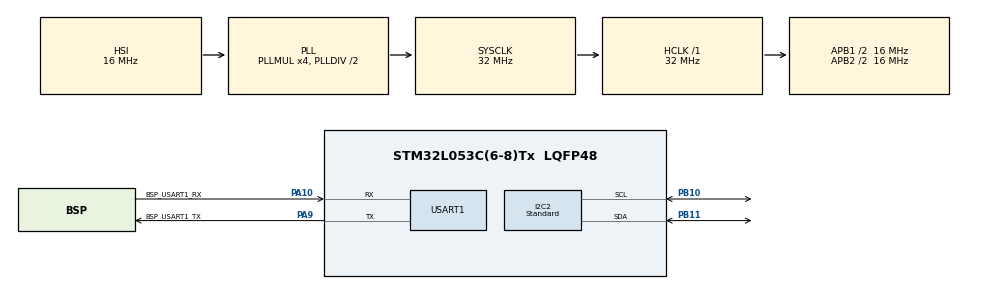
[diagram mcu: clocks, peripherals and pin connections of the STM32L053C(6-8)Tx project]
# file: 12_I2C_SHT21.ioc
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I2C2.I2C_Speed_Mode=I2C_Standard
I2C2.Timing=0x00303D5B
Mcu.Family=STM32L0
Mcu.Name=STM32L053C(6-8)Tx
Mcu.Package=LQFP48
PA10.GPIO_Label=BSP_USART1_RX
PA10.Mode=Asynchronous
PA10.Signal=USART1_RX
PA9.GPIO_Label=BSP_USART1_TX
PA9.Mode=Asynchronous
PA9.Signal=USART1_TX
PB10.GPIO_Pu=GPIO_PULLUP
PB10.Mode=I2C
PB10.Signal=I2C2_SCL
PB11.GPIO_Pu=GPIO_PULLUP
PB11.Mode=I2C
PB11.Signal=I2C2_SDA
PC14-OSC32_IN.Mode=LSE-External-Oscillator
PC14-OSC32_IN.Signal=RCC_OSC32_IN
PC15-OSC32_OUT.Mode=LSE-External-Oscillator
PC15-OSC32_OUT.Signal=RCC_OSC32_OUT
PH0-OSC_IN.Mode=HSE-External-Oscillator
PH0-OSC_IN.Signal=RCC_OSC_IN
PH1-OSC_OUT.Mode=HSE-External-Oscillator
PH1-OSC_OUT.Signal=RCC_OSC_OUT
ProjectManager.HeapSize=0x200
ProjectManager.StackSize=0x400
ProjectManager.TargetToolchain=STM32CubeIDE
RCC.AHBFreq_Value=32000000
RCC.APB1CLKDivider=RCC_HCLK_DIV2
RCC.APB1Freq_Value=16000000
RCC.APB1TimFreq_Value=32000000
RCC.APB2CLKDivider=RCC_HCLK_DIV2
RCC.APB2Freq_Value=16000000
RCC.APB2TimFreq_Value=32000000
RCC.HCLKFreq_Value=32000000
RCC.HSE_VALUE=8000000
RCC.HSI16_VALUE=16000000
RCC.HSI48MClockSelection=RCC_USBCLKSOURCE_HSI48
RCC.HSI48_VALUE=48000000
RCC.HSI_VALUE=16000000
RCC.MSI_VALUE=2097000
RCC.PLLMUL=RCC_PLLMUL_4
RCC.RTCClockSelectionVirtual=RCC_RTCCLKSOURCE_LSE
RCC.SYSCLKFreq_VALUE=32000000
RCC.SYSCLKSource=RCC_SYSCLKSOURCE_PLLCLK
RCC.VCOOutputFreq_Value=64000000
USART1.VirtualMode-Asynchronous=VM_ASYNC
board=STM32L0538-DISCO

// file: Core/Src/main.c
/* USER CODE BEGIN Header */
/**
  ******************************************************************************
  * @file           : main.c
  * @brief          : Main program body
  ******************************************************************************
  * @attention
  *
  * Copyright (c) 2024 STMicroelectronics.
  * All rights reserved.
  *
  * This software is licensed under terms that can be found in the LICENSE file
  * in the root directory of this software component.
  * If no LICENSE file comes with this software, it is provided AS-IS.
  *
  ******************************************************************************
  */
/* USER CODE END Header */
#include "main.h"

/* USER CODE BEGIN Includes */
#include<stdio.h>
#include<string.h>
#include "sht2x_for_stm32_hal.h"
/* USER CODE END Includes */

I2C_HandleTypeDef hi2c2;

UART_HandleTypeDef huart1;

void SystemClock_Config(void);
static void MX_GPIO_Init(void);
static void MX_USART1_UART_Init(void);
static void MX_I2C2_Init(void);
/* USER CODE BEGIN PFP */
void i2c_scan(void);
/* USER CODE END PFP */

/* USER CODE BEGIN 0 */
char Buffer[25] = {0};
uint8_t Space[] = " - ";
uint8_t StartMSG[] = "Starting I2C Scanning: \r\n";
uint8_t EndMSG[] = "Done! \r\n\r\n";

uint8_t i = 0;
int ret;
/* USER CODE END 0 */

int main(void)
{

  /* MCU Configuration--------------------------------------------------------*/

  /* Reset of all peripherals, Initializes the Flash interface and the Systick. */
  HAL_Init();

  /* Configure the system clock */
  SystemClock_Config();

  /* Initialize all configured peripherals */
  MX_GPIO_Init();
  MX_USART1_UART_Init();
  MX_I2C2_Init();
  /* USER CODE BEGIN 2 */
  SHT2x_Init(&hi2c2);
  i2c_scan();

  /* USER CODE END 2 */

  /* Infinite loop */
  while (1)
  {

    /* USER CODE BEGIN 3 */
	  unsigned char buffer[100] = { 0 };
	 	  		/* Gets current temperature & relative humidity. */
	 	  		float cel = SHT2x_GetTemperature(1);
	 	  		/* Converts temperature to degrees Fahrenheit and Kelvin */
	 	  		float fah = SHT2x_CelsiusToFahrenheit(cel);
	 	  		float kel = SHT2x_CelsiusToKelvin(cel);
	 	  		float rh = SHT2x_GetRelativeHumidity(1);

	 	  		SHT2x_GetInteger(cel);
	 	  		/* May show warning below. Ignore and proceed. */
	 	  		sprintf(buffer,"%d.%dºC, %d.%dºF, %d.%d K, %d.%d%% RH\n",
	 	  				SHT2x_GetInteger(cel), SHT2x_GetDecimal(cel, 1),
	 	  				SHT2x_GetInteger(fah), SHT2x_GetDecimal(fah, 1),
	 	  				SHT2x_GetInteger(kel), SHT2x_GetDecimal(kel, 1),
	 	  				SHT2x_GetInteger(rh), SHT2x_GetDecimal(rh, 1));
	 	  		HAL_UART_Transmit(&huart1, buffer, strlen(buffer), 1000);
	 	  		HAL_Delay(250);
  }
  /* USER CODE END 3 */
}

void SystemClock_Config(void)
{
  RCC_OscInitTypeDef RCC_OscInitStruct = {0};
  RCC_ClkInitTypeDef RCC_ClkInitStruct = {0};
  RCC_PeriphCLKInitTypeDef PeriphClkInit = {0};

  /** Configure the main internal regulator output voltage
  */
  __HAL_PWR_VOLTAGESCALING_CONFIG(PWR_REGULATOR_VOLTAGE_SCALE1);

  /** Initializes the RCC Oscillators according to the specified parameters
  * in the RCC_OscInitTypeDef structure.
  */
  RCC_OscInitStruct.OscillatorType = RCC_OSCILLATORTYPE_HSI;
  RCC_OscInitStruct.HSIState = RCC_HSI_ON;
  RCC_OscInitStruct.HSICalibrationValue = RCC_HSICALIBRATION_DEFAULT;
  RCC_OscInitStruct.PLL.PLLState = RCC_PLL_ON;
  RCC_OscInitStruct.PLL.PLLSource = RCC_PLLSOURCE_HSI;
  RCC_OscInitStruct.PLL.PLLMUL = RCC_PLLMUL_4;
  RCC_OscInitStruct.PLL.PLLDIV = RCC_PLLDIV_2;
  if (HAL_RCC_OscConfig(&RCC_OscInitStruct) != HAL_OK)
  {
    Error_Handler();
  }

  /** Initializes the CPU, AHB and APB buses clocks
  */
  RCC_ClkInitStruct.ClockType = RCC_CLOCKTYPE_HCLK|RCC_CLOCKTYPE_SYSCLK
                              |RCC_CLOCKTYPE_PCLK1|RCC_CLOCKTYPE_PCLK2;
  RCC_ClkInitStruct.SYSCLKSource = RCC_SYSCLKSOURCE_PLLCLK;
  RCC_ClkInitStruct.AHBCLKDivider = RCC_SYSCLK_DIV1;
  RCC_ClkInitStruct.APB1CLKDivider = RCC_HCLK_DIV2;
  RCC_ClkInitStruct.APB2CLKDivider = RCC_HCLK_DIV2;

  if (HAL_RCC_ClockConfig(&RCC_ClkInitStruct, FLASH_LATENCY_1) != HAL_OK)
  {
    Error_Handler();
  }
  PeriphClkInit.PeriphClockSelection = RCC_PERIPHCLK_USART1;
  PeriphClkInit.Usart1ClockSelection = RCC_USART1CLKSOURCE_PCLK2;
  if (HAL_RCCEx_PeriphCLKConfig(&PeriphClkInit) != HAL_OK)
  {
    Error_Handler();
  }
}

static void MX_I2C2_Init(void)
{

  hi2c2.Instance = I2C2;
  hi2c2.Init.Timing = 0x00303D5B;
  hi2c2.Init.OwnAddress1 = 0;
  hi2c2.Init.AddressingMode = I2C_ADDRESSINGMODE_7BIT;
  hi2c2.Init.DualAddressMode = I2C_DUALADDRESS_DISABLE;
  hi2c2.Init.OwnAddress2 = 0;
  hi2c2.Init.OwnAddress2Masks = I2C_OA2_NOMASK;
  hi2c2.Init.GeneralCallMode = I2C_GENERALCALL_DISABLE;
  hi2c2.Init.NoStretchMode = I2C_NOSTRETCH_DISABLE;
  if (HAL_I2C_Init(&hi2c2) != HAL_OK)
  {
    Error_Handler();
  }

  /** Configure Analogue filter
  */
  if (HAL_I2CEx_ConfigAnalogFilter(&hi2c2, I2C_ANALOGFILTER_ENABLE) != HAL_OK)
  {
    Error_Handler();
  }

  /** Configure Digital filter
  */
  if (HAL_I2CEx_ConfigDigitalFilter(&hi2c2, 0) != HAL_OK)
  {
    Error_Handler();
  }

}

static void MX_USART1_UART_Init(void)
{

  huart1.Instance = USART1;
  huart1.Init.BaudRate = 115200;
  huart1.Init.WordLength = UART_WORDLENGTH_8B;
  huart1.Init.StopBits = UART_STOPBITS_1;
  huart1.Init.Parity = UART_PARITY_NONE;
  huart1.Init.Mode = UART_MODE_TX_RX;
  huart1.Init.HwFlowCtl = UART_HWCONTROL_NONE;
  huart1.Init.OverSampling = UART_OVERSAMPLING_16;
  huart1.Init.OneBitSampling = UART_ONE_BIT_SAMPLE_DISABLE;
  huart1.AdvancedInit.AdvFeatureInit = UART_ADVFEATURE_NO_INIT;
  if (HAL_UART_Init(&huart1) != HAL_OK)
  {
    Error_Handler();
  }

}

static void MX_GPIO_Init(void)
{

  /* GPIO Ports Clock Enable */
  __HAL_RCC_GPIOC_CLK_ENABLE();
  __HAL_RCC_GPIOH_CLK_ENABLE();
  __HAL_RCC_GPIOB_CLK_ENABLE();
  __HAL_RCC_GPIOA_CLK_ENABLE();

}

/* USER CODE BEGIN 4 */
void i2c_scan(void)
{
	HAL_UART_Transmit(&huart1, StartMSG, sizeof(StartMSG), 10000);

	for(i=0; i<128; i++)
	    {
	        ret = HAL_I2C_IsDeviceReady(&hi2c2, (uint16_t)(i<<1), 3, 5);
	        if (ret != HAL_OK) /* No ACK Received At That Address */
	        {
	            HAL_UART_Transmit(&huart1, Space, sizeof(Space), 10000);
	        }
	        else if(ret == HAL_OK)
	        {
	            sprintf(Buffer, "0x%X", i);
	            HAL_UART_Transmit(&huart1, (uint8_t *)Buffer, sizeof(Buffer), 10000);
	        }
	    }
	    HAL_UART_Transmit(&huart1, EndMSG, sizeof(EndMSG), 10000);
}
/* USER CODE END 4 */

void Error_Handler(void)
{
  __disable_irq();
  while (1)
  {
  }
}
